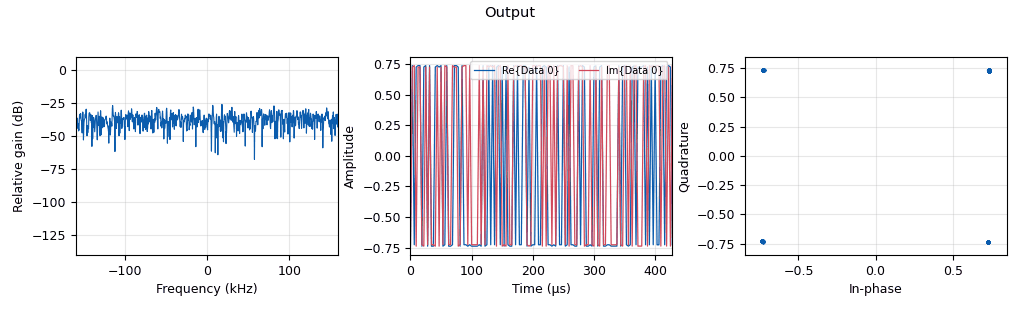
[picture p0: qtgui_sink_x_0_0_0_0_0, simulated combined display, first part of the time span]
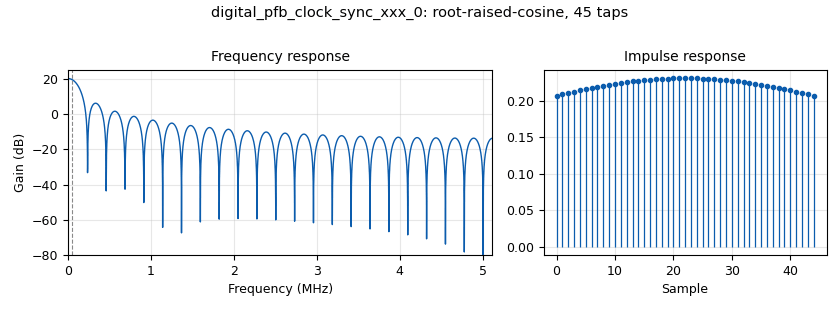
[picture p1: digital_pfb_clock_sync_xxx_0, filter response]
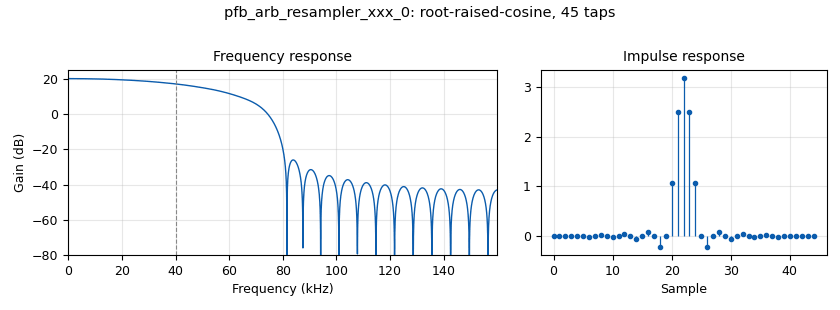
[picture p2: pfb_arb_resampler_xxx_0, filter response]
options:
  parameters:
    author: abhi
    generate_options: qt_gui
    id: Lab10_1
    output_language: python
    title: Not titled yet
  states: {}

blocks:
- name: alpha
  id: variable_qtgui_range
  parameters:
    start: '0.01'
    step: '0.01'
    stop: '1'
    value: '0.99'
  states: {}
- name: const_points
  id: variable
  parameters:
    value: '4'
  states: {}
- name: gain
  id: variable
  parameters:
    value: '10'
  states: {}
- name: nfilts
  id: variable
  parameters:
    value: '32'
  states: {}
- name: ntaps
  id: variable
  parameters:
    value: 11*sps
  states: {}
- name: rx_taps
  id: variable
  parameters:
    value: firdes.root_raised_cosine(gain,nfilts*sps*symb_rate,symb_rate,alpha,ntaps)
  states: {}
- name: samp_rate
  id: variable
  parameters:
    value: symb_rate*sps
  states: {}
- name: sps
  id: variable
  parameters:
    value: '4'
  states: {}
- name: symb_rate
  id: variable
  parameters:
    value: '80000'
  states: {}
- name: tx_taps
  id: variable
  parameters:
    value: firdes.root_raised_cosine(10,sps*symb_rate,symb_rate,alpha,ntaps)
  states: {}
- name: analog_random_source_x_0
  id: analog_random_source_x
  parameters:
    max: const_points
    min: '0'
    num_samps: '1000'
    repeat: 'True'
    type: int
  states: {}
- name: analog_sig_source_x_0
  id: analog_sig_source_x
  parameters:
    amp: '1'
    freq: '0.1'
    offset: '0'
    phase: '0'
    samp_rate: samp_rate
    type: complex
    waveform: analog.GR_COS_WAVE
  states: {}
- name: blocks_multiply_xx_0
  id: blocks_multiply_xx
  parameters:
    type: complex
  states: {}
- name: blocks_throttle_0
  id: blocks_throttle
  parameters:
    samples_per_second: samp_rate
    type: complex
  states: {}
- name: digital_chunks_to_symbols_xx_0
  id: digital_chunks_to_symbols_xx
  parameters:
    dimension: '1'
    in_type: int
    out_type: complex
    symbol_table: ((1-1j), (1+1j), (-1+1j), (-1-1j))
  states: {}
- name: digital_pfb_clock_sync_xxx_0
  id: digital_pfb_clock_sync_xxx
  parameters:
    filter_size: nfilts
    init_phase: '16'
    loop_bw: 2*3.1415/100
    max_dev: '1.5'
    osps: '1'
    sps: sps
    taps: rx_taps
    type: ccf
  states: {}
- name: pfb_arb_resampler_xxx_0
  id: pfb_arb_resampler_xxx
  parameters:
    atten: '100'
    nfilts: '32'
    rrate: sps
    taps: tx_taps
    type: ccf
  states: {}
- name: qtgui_sink_x_0_0_0_0_0
  id: qtgui_sink_x
  parameters:
    bw: '320000'
    fc: '0'
    fftsize: '1024'
    name: '"Output"'
    type: complex
  states: {}

connections:
- [analog_random_source_x_0, '0', digital_chunks_to_symbols_xx_0, '0']
- [analog_sig_source_x_0, '0', blocks_multiply_xx_0, '1']
- [blocks_multiply_xx_0, '0', digital_pfb_clock_sync_xxx_0, '0']
- [blocks_throttle_0, '0', qtgui_sink_x_0_0_0_0_0, '0']
- [digital_chunks_to_symbols_xx_0, '0', pfb_arb_resampler_xxx_0, '0']
- [digital_pfb_clock_sync_xxx_0, '0', blocks_throttle_0, '0']
- [pfb_arb_resampler_xxx_0, '0', blocks_multiply_xx_0, '0']

metadata:
  file_format: 1
  grc_version: 3.9.8.0-rc1
